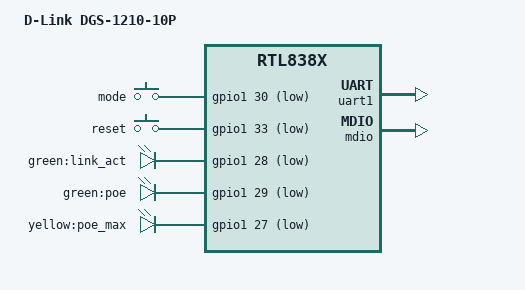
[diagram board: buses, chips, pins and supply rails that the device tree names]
// SPDX-License-Identifier: GPL-2.0-or-later OR MIT

#include "rtl838x.dtsi"
#include "rtl83xx_d-link_dgs-1210_common.dtsi"

/ {
	compatible = "d-link,dgs-1210-10p", "realtek,rtl838x-soc";
	model = "D-Link DGS-1210-10P";

	keys {
		compatible = "gpio-keys-polled";
		poll-interval = <20>;

		mode {
			label = "mode";
			gpios = <&gpio1 30 GPIO_ACTIVE_LOW>;
			linux,code = <KEY_LIGHTS_TOGGLE>;
		};

		reset {
			label = "reset";
			gpios = <&gpio1 33 GPIO_ACTIVE_LOW>;
			linux,code = <KEY_RESTART>;
		};
	};

	leds {
		link_act {
			label = "green:link_act";
			gpios = <&gpio1 28 GPIO_ACTIVE_LOW>;
		};

		poe {
			label = "green:poe";
			gpios = <&gpio1 29 GPIO_ACTIVE_LOW>;
		};

		poe_max {
			label = "yellow:poe_max";
			gpios = <&gpio1 27 GPIO_ACTIVE_LOW>;
		};
	};

	gpio1: rtl8231-gpio {
		compatible = "realtek,rtl8231-gpio";
		#gpio-cells = <2>;
		gpio-controller;
		indirect-access-bus-id = <0>;
	};
};

&uart1 {
	status = "okay";
};

&ethernet0 {
	mdio: mdio-bus {
		compatible = "realtek,rtl838x-mdio";
		regmap = <&ethernet0>;
		#address-cells = <1>;
		#size-cells = <0>;

		INTERNAL_PHY(8)
		INTERNAL_PHY(9)
		INTERNAL_PHY(10)
		INTERNAL_PHY(11)
		INTERNAL_PHY(12)
		INTERNAL_PHY(13)
		INTERNAL_PHY(14)
		INTERNAL_PHY(15)
		INTERNAL_PHY(24)
		INTERNAL_PHY(26)
	};
};

&switch0 {
	ports {
		#address-cells = <1>;
		#size-cells = <0>;

		SWITCH_PORT(8, 1, internal)
		SWITCH_PORT(9, 2, internal)
		SWITCH_PORT(10, 3, internal)
		SWITCH_PORT(11, 4, internal)
		SWITCH_PORT(12, 5, internal)
		SWITCH_PORT(13, 6, internal)
		SWITCH_PORT(14, 7, internal)
		SWITCH_PORT(15, 8, internal)
		SWITCH_SFP_PORT(24, 9, rgmii-id)
		SWITCH_SFP_PORT(26, 10, rgmii-id)

		port@28 {
			ethernet = <&ethernet0>;
			reg = <28>;
			phy-mode = "internal";
			fixed-link {
				speed = <1000>;
				full-duplex;
			};
		};
	};
};
